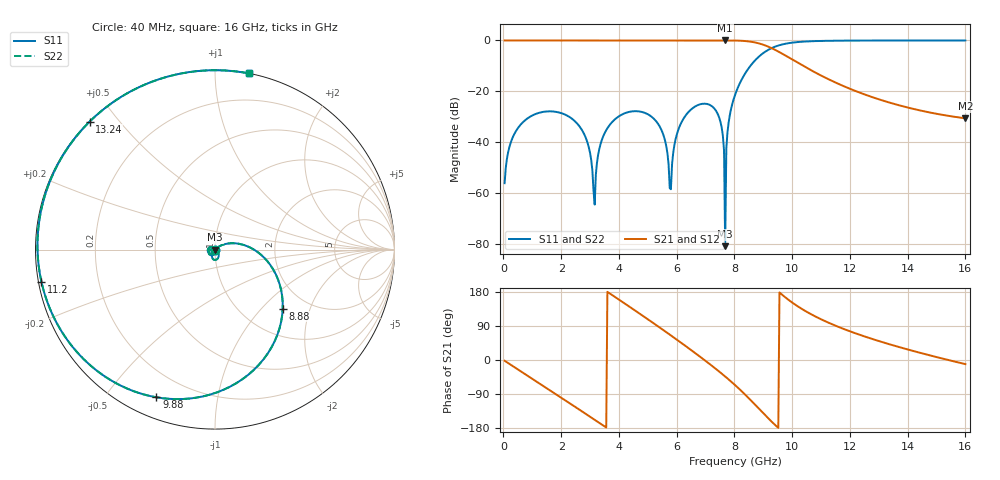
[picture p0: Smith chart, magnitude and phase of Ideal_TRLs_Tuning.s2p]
! Created Sun Apr 28 20:48:04 2024
# hz S db R 50
! 2 Port Network Data from SP1.SP block
! freq  dbS11  angS11  dbS21  angS21  dbS12  angS12  dbS22  angS22
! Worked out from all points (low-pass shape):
!   400 points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, 40 MHz to 16 GHz, reference 50 ohm
!   highest |S21| = 0.00 dB at 7.68 GHz (marker M1); lowest = -30.5 dB at 16 GHz (marker M2)
!   |S21| within 3 dB of the highest: start of sweep to 9.285 GHz
!   lowest |S11| = -80.7 dB at 7.68 GHz (marker M3), VSWR 1.00, Z = 50 + j0.00672 ohm
!   |S11| at or under -10 dB: start of sweep to 8.551 GHz
!   |S22| runs from -80.7 to 0.0 dB; largest |S21 - S12| = 1.3e-15
!   S11 on the Smith chart (normalised r, x): 40 MHz: 1.00, -0.00; 8.88 GHz: 1.51, -1.33; 9.88 GHz: 0.09, -0.68; 11.2 GHz: 0.01, -0.09; 13.24 GHz: 0.00, +0.42; 16 GHz: 0.00, +1.21
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4e7  -55.96 -92.0  -0.00 -2.0  -0.00 -2.0  -55.96 -92.0
8.4e8  -30.50 -131.7  -0.00 -41.7  -0.00 -41.7  -30.50 -131.7
2.72e9  -35.14 134.4  -0.00 -135.6  -0.00 -135.6  -35.14 134.4
3.16e9  -64.35 -67.8  -0.00 -157.8  -0.00 -157.8  -64.35 -67.8
3.28e9  -44.78 -73.9  -0.00 -163.9  -0.00 -163.9  -44.78 -73.9
3.68e9  -33.12 -94.2  -0.00 175.8  -0.00 175.8  -33.12 -94.2
5.36e9  -32.78 178.5  -0.00 88.5  -0.00 88.5  -32.78 178.5
5.8e9  -58.34 -25.1  -0.00 64.9  -0.00 64.9  -58.34 -25.1
5.92e9  -41.06 -31.7  -0.00 58.3  -0.00 58.3  -41.06 -31.7
6.24e9  -30.59 -49.3  -0.00 40.7  -0.00 40.7  -30.59 -49.3
7.4e9  -28.31 -116.1  -0.01 -26.1  -0.01 -26.1  -28.31 -116.1
7.64e9  -43.13 -131.0  -0.00 -41.0  -0.00 -41.0  -43.13 -131.0
7.68e9  -80.66 46.5  -0.00 -43.5  -0.00 -43.5  -80.66 46.5
7.72e9  -42.23 43.9  -0.00 -46.1  -0.00 -46.1  -42.23 43.9
8.04e9  -20.76 22.6  -0.04 -67.4  -0.04 -67.4  -20.76 22.6
8.88e9  -6.02 -41.1  -1.25 -131.1  -1.25 -131.1  -6.02 -41.1
9.88e9  -1.06 -111.6  -6.65 158.4  -6.65 158.4  -1.06 -111.6
1.068e10  -0.29 -150.2  -11.84 119.8  -11.84 119.8  -0.29 -150.2
1.12e10  -0.14 -169.6  -14.88 100.4  -14.88 100.4  -0.14 -169.6
1.324e10  -0.02 134.5  -23.92 44.5  -23.92 44.5  -0.02 134.5
1.336e10  -0.02 131.7  -24.32 41.7  -24.32 41.7  -0.02 131.7
1.6e10  -0.00 79.1  -30.53 -10.9  -30.53 -10.9  -0.00 79.1
